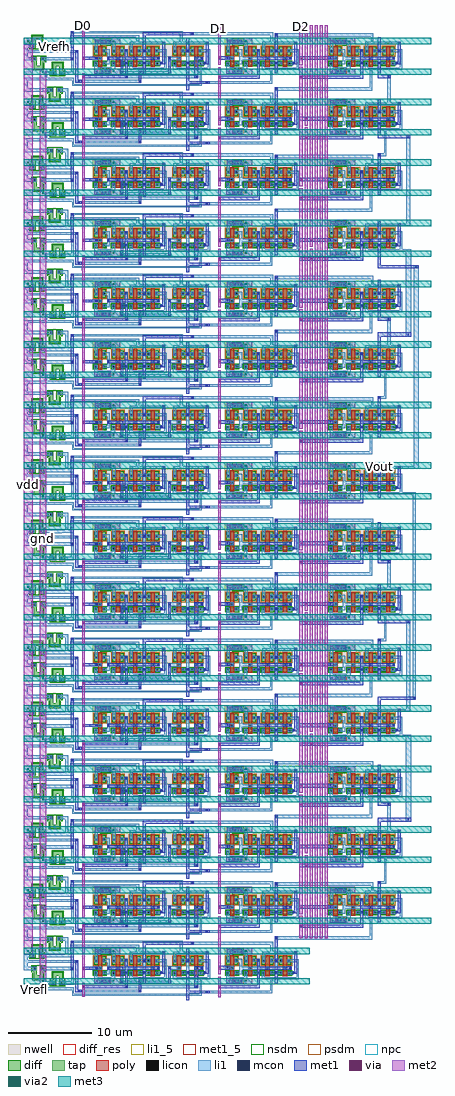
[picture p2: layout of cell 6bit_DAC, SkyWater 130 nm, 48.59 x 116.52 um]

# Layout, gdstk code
from math import pi, radians
import gdstk
lib = gdstk.Library(unit=1e-6, precision=1e-09)
def R(c, l, rs):  # rectangles x0, y0, x1, y1
    for r in rs: c.add(gdstk.rectangle(r[:2], r[2:], *l))
def A(c, l, x, y, w, h, nx, ny, dx, dy):  # array of equal rectangles
    R(c, l, [(x+i*dx, y+j*dy, x+i*dx+w, y+j*dy+h) for i in range(nx) for j in range(ny)])
nwell = (64, 20)
diff_res = (65, 13)
diff = (65, 20)
tap = (65, 44)
poly = (66, 20)
licon = (66, 44)
li1_5 = (67, 5)
li1 = (67, 20)
mcon = (67, 44)
met1_5 = (68, 5)
met1 = (68, 20)
via = (68, 44)
met2 = (69, 20)
via2 = (69, 44)
met3 = (70, 20)
nsdm = (93, 44)
psdm = (94, 20)
npc = (95, 20)

switchn = lib.new_cell('switchn')
R(switchn, nwell, [(-0.19,0,7.92,1.5), (-0.19,1.5,3.08,2.24)])
R(switchn, diff, [(-0.04,-1.01,1.39,-0.59), (2.09,-1.01,3.52,-0.59), (4.17,-1.01,5.6,-0.59), (6.3,-1.01,7.73,-0.59), (0.01,0.18,1.37,1.18), (2.14,0.18,3.5,1.18), (4.22,0.18,5.58,1.18), (6.32,0.18,7.68,0.87), (6.32,0.87,7.69,1.18)])
R(switchn, tap, [(0.81,-2.01,1.92,-1.42), (0.82,1.46,1.92,2.05)])
A(switchn, poly, 2.58, -1.17, 0.5, 2.48, 3, 1, 2.08, 0)
R(switchn, poly, [(0.45,-1.17,0.95,1.31)])
R(switchn, licon, [(1.275,-1.795,1.445,-1.625), (0.085,-0.875,0.255,-0.705), (2.215,-0.875,2.385,-0.705), (4.295,-0.875,4.465,-0.705), (7.435,-0.875,7.605,-0.705), (1.115,-0.835,1.285,-0.665), (3.245,-0.835,3.415,-0.665), (5.325,-0.835,5.495,-0.665), (6.405,-0.835,6.575,-0.665), (2.725,-0.315,2.895,-0.145), (6.965,-0.295,7.135,-0.125), (0.595,-0.285,0.765,-0.115), (4.815,-0.265,4.985,-0.095), (0.145,0.615,0.315,0.785), (1.105,0.615,1.275,0.785), (2.275,0.615,2.445,0.785), (3.235,0.615,3.405,0.785), (4.355,0.615,4.525,0.785), (5.315,0.615,5.485,0.785), (6.415,0.615,6.585,0.785), (7.375,0.615,7.545,0.785), (1.3,1.655,1.47,1.825)])
R(switchn, li1_5, [(6.77,-1.465,7.16,-1.435), (6.705,1.615,7.095,1.645)])
R(switchn, li1, [(0.81,-2.01,1.92,-1.5), (4.2,-1.55,8.64,-1.29), (8.37,-1.55,8.64,0.51), (-0.01,-1.5,0.36,-0.97), (-0.01,-1.5,2.49,-1.28), (4.2,-1.29,4.57,-0.97), (2.12,-1.28,2.49,-0.97), (7.33,-1.01,7.97,-0.88), (-0.02,-0.97,0.36,-0.6), (2.11,-0.97,2.49,-0.6), (4.19,-0.97,4.57,-0.6), (1.02,-0.93,1.87,-0.59), (3.15,-0.93,3.99,-0.59), (5.23,-0.93,6.67,-0.59), (5.77,-0.93,6.13,0.9), (7.33,-0.88,8.2,-0.63), (-0.01,-0.6,0.36,-0.59), (2.12,-0.6,2.49,-0.59), (1.56,-0.59,1.87,-0.38), (-0.145,-0.385,0.89,0.055), (1.56,-0.38,5.15,-0.02), (6.8,-0.38,7.8,-0.01), (1.56,-0.02,1.87,0.51), (0.04,0.5,0.41,1.59), (2.17,0.5,2.54,1.59), (4.25,0.5,4.62,1.76), (1,0.51,1.87,0.9), (5.21,0.51,6.69,0.9), (7.27,0.51,8.65,0.87), (3.13,0.53,4,0.9), (0.82,1.46,1.92,1.59), (4.25,1.51,8.46,1.76), (0.04,1.59,2.54,1.83), (0.82,1.83,1.92,2.05)])
R(switchn, mcon, [(0.9,-1.825,1.07,-1.655), (1.67,-1.825,1.84,-1.655), (3.74,-0.845,3.91,-0.675), (5.85,-0.845,6.02,-0.675), (7.985,-0.815,8.155,-0.645), (7.515,-0.255,7.685,-0.085), (0.025,-0.23,0.195,-0.06), (5.875,0.63,6.045,0.8), (3.76,0.645,3.93,0.815), (8.195,1.575,8.365,1.745), (0.92,1.66,1.09,1.83), (1.65,1.675,1.82,1.845)])
R(switchn, met1_5, [(1.19,-1.98,1.53,-1.92), (1.22,1.95,1.5,2)])
R(switchn, met1, [(-3.6,-2.635,3.985,-2.25), (3.67,-2.635,3.985,-0.36), (-0.01,-2.01,1.92,-1.42), (5.77,-2,6.13,-0.59), (3.67,-0.93,3.99,-0.38), (7.9,-0.9,8.46,-0.58), (8.12,-0.58,8.46,1.48), (-3.6,-0.385,0.42,0.055), (3.67,-0.38,7.79,-0.02), (3.67,-0.02,4,0.9), (7.37,-0.02,7.77,-0.01), (5.77,0.515,6.13,2.085), (0.04,1.46,1.92,2.05), (8.12,1.48,8.46,1.81)])
R(switchn, via, [(0.25,-1.83,0.4,-1.68), (0.37,1.7,0.52,1.85)])
A(switchn, met2, -2.4, -0.96, 0.4, 4.73, 4, 1, 0.6, 0)
R(switchn, met2, [(-3.6,-3.9,-3.2,-1.21), (-3,-3.9,-2.6,-1.19), (-2.4,-3.9,-2,-1.19), (-1.8,-3.9,-1.4,-1.185), (-1.2,-3.9,-0.8,-1.175), (-0.6,-3.9,-0.2,-1.165), (-0.01,-2.135,3.08,-1.42), (-3.6,-0.99,-3.2,3.77), (-3,-0.975,-2.6,3.77), (0.04,1.46,3.08,2.24)])
R(switchn, via2, [(2.205,-1.805,2.405,-1.605), (2.205,1.735,2.405,1.935)])
R(switchn, met3, [(-4,-2.135,12.1,-1.42), (-4,1.465,12.1,2.235)])
R(switchn, nsdm, [(-0.165,-1.135,1.515,-0.465), (1.965,-1.135,3.645,-0.465), (4.045,-1.135,5.725,-0.465), (6.175,-1.135,7.855,-0.465), (0.695,1.335,2.045,2.175)])
R(switchn, psdm, [(0.685,-2.135,2.045,-1.295), (-0.115,0.055,1.495,1.305), (2.015,0.055,3.625,1.305), (4.095,0.055,5.705,1.305), (6.195,0.055,7.805,0.745), (6.195,0.745,7.815,1.305)])
R(switchn, npc, [(2.625,-0.415,2.995,-0.045), (6.865,-0.395,7.235,-0.025), (0.495,-0.385,0.865,-0.015), (4.715,-0.365,5.085,0.005)])
switchn.add(gdstk.Label('vrefh', (6.9,1.63), layer=67, texttype=5))
switchn.add(gdstk.Label('vrefl', (6.965,-1.45), layer=67, texttype=5))
switchn.add(gdstk.Label('DX_BUF', (1.31,-2.585), layer=68, texttype=5))
switchn.add(gdstk.Label('Vout', (5.855,-1.877), layer=68, texttype=5))
switchn.add(gdstk.Label('Vout', (5.884,1.944), layer=68, texttype=5))
switchn.add(gdstk.Label('vdd', (1.36,1.975), layer=68, texttype=5))
switchn.add(gdstk.Label('gnd', (1.36,-1.95), layer=68, texttype=5))
switchn.add(gdstk.Label('D2', (-3.498,3.7), layer=69, texttype=5))
switchn.add(gdstk.Label('D3', (-2.814,3.72), layer=69, texttype=5))
switchn.add(gdstk.Label('D4', (-2.276,3.725), layer=69, texttype=5))
switchn.add(gdstk.Label('D5', (-1.617,3.745), layer=69, texttype=5))
switchn.add(gdstk.Label('D6', (-1.085,3.73), layer=69, texttype=5))
switchn.add(gdstk.Label('D7', (-0.441,3.735), layer=69, texttype=5))
switchn.add(gdstk.Label('VDD', (11.375,1.76), layer=70, texttype=5))
switchn.add(gdstk.Label('GND', (11.51,-1.905), layer=70, texttype=5))

resistor = lib.new_cell('resistor')
R(resistor, diff_res, [(-0.64,-1.03,-0.07,-0.455), (-0.64,-0.855,0.87,-0.455), (0.45,-0.855,0.87,0.32), (-0.64,-0.08,-0.07,0.53), (-0.64,-0.08,0.87,0.32)])
R(resistor, diff, [(-0.64,-1.03,-0.07,-0.455), (-0.64,-0.855,0.87,-0.455), (0.45,-0.855,0.87,0.32), (-0.64,-0.08,-0.07,0.53), (-0.64,-0.08,0.87,0.32)])
R(resistor, licon, [(-0.475,-0.825,-0.305,-0.655), (-0.455,0.165,-0.285,0.335)])
R(resistor, li1, [(-0.59,-2,-0.19,-0.56), (-0.59,0.06,-0.19,1.3)])
R(resistor, nsdm, [(-0.765,-1.155,0.055,-0.995), (-0.765,-0.995,0.995,0.435), (-0.765,0.435,0.055,0.655)])
resistor.add(gdstk.Label('b', (-0.37,0.27), layer=67, texttype=5))
resistor.add(gdstk.Label('a', (-0.39,-0.75), layer=67, texttype=5))

resistor_h = lib.new_cell('resistor_h')
R(resistor_h, li1, [(-7.66,-2.09,-7.32,0.32), (-12.585,-0.08,-12.16,1.59), (-12.585,-0.08,-9.205,0.32)])
resistor_h.add(gdstk.Reference(resistor, (-8.64,-0.27), rotation=3*pi/2))

switch2n = lib.new_cell('switch2n')
R(switch2n, nwell, [(-0.19,0,13.12,1.5), (-0.19,1.5,3.08,2.24)])
R(switch2n, diff, [(-0.04,-1.01,1.39,-0.59), (2.09,-1.01,3.52,-0.59), (4.17,-1.01,5.6,-0.59), (4.17,-1.01,5.6,-0.59), (6.3,-1.01,7.73,-0.59), (6.3,-1.01,7.73,-0.59), (9.37,-1.01,10.8,-0.59), (9.37,-1.01,10.8,-0.59), (11.5,-1.01,12.93,-0.59), (11.5,-1.01,12.93,-0.59), (0.01,0.18,1.37,1.18), (2.14,0.18,3.5,1.18), (4.22,0.18,5.58,1.18), (4.22,0.18,5.58,1.18), (6.32,0.18,7.68,0.87), (6.32,0.18,7.68,0.87), (9.42,0.18,10.78,1.18), (9.42,0.18,10.78,1.18), (11.52,0.18,12.88,0.87), (11.52,0.18,12.88,0.87), (6.32,0.87,7.69,1.18), (6.32,0.87,7.69,1.18), (11.52,0.87,12.89,1.18), (11.52,0.87,12.89,1.18)])
R(switch2n, tap, [(0.81,-2.01,1.92,-1.42), (0.82,1.46,1.92,2.05)])
R(switch2n, poly, [(0.45,-1.17,0.95,1.31), (2.58,-1.17,3.08,1.31), (4.66,-1.17,5.16,1.31), (4.66,-1.17,5.16,1.31), (6.74,-1.17,7.24,1.31), (6.74,-1.17,7.24,1.31), (9.86,-1.17,10.36,1.31), (9.86,-1.17,10.36,1.31), (11.94,-1.17,12.44,1.31), (11.94,-1.17,12.44,1.31)])
R(switch2n, licon, [(1.275,-1.795,1.445,-1.625), (0.085,-0.875,0.255,-0.705), (2.215,-0.875,2.385,-0.705), (4.295,-0.875,4.465,-0.705), (4.295,-0.875,4.465,-0.705), (7.435,-0.875,7.605,-0.705), (7.435,-0.875,7.605,-0.705), (9.495,-0.875,9.665,-0.705), (9.495,-0.875,9.665,-0.705), (12.635,-0.875,12.805,-0.705), (12.635,-0.875,12.805,-0.705), (1.115,-0.835,1.285,-0.665), (3.245,-0.835,3.415,-0.665), (5.325,-0.835,5.495,-0.665), (5.325,-0.835,5.495,-0.665), (6.405,-0.835,6.575,-0.665), (6.405,-0.835,6.575,-0.665), (10.525,-0.835,10.695,-0.665), (10.525,-0.835,10.695,-0.665), (11.605,-0.835,11.775,-0.665), (11.605,-0.835,11.775,-0.665), (2.725,-0.315,2.895,-0.145), (6.965,-0.295,7.135,-0.125), (6.965,-0.295,7.135,-0.125), (12.165,-0.295,12.335,-0.125), (12.165,-0.295,12.335,-0.125), (0.595,-0.285,0.765,-0.115), (4.815,-0.265,4.985,-0.095), (4.815,-0.265,4.985,-0.095), (10.015,-0.265,10.185,-0.095), (10.015,-0.265,10.185,-0.095), (0.145,0.615,0.315,0.785), (1.105,0.615,1.275,0.785), (2.275,0.615,2.445,0.785), (3.235,0.615,3.405,0.785), (4.355,0.615,4.525,0.785), (4.355,0.615,4.525,0.785), (5.315,0.615,5.485,0.785), (5.315,0.615,5.485,0.785), (6.415,0.615,6.585,0.785), (6.415,0.615,6.585,0.785), (7.375,0.615,7.545,0.785), (7.375,0.615,7.545,0.785), (9.555,0.615,9.725,0.785), (9.555,0.615,9.725,0.785), (10.515,0.615,10.685,0.785), (10.515,0.615,10.685,0.785), (11.615,0.615,11.785,0.785), (11.615,0.615,11.785,0.785), (12.575,0.615,12.745,0.785), (12.575,0.615,12.745,0.785), (1.3,1.66,1.47,1.83)])
R(switch2n, li1, [(3.68,-2.585,12.435,-2.235), (3.155,-2.035,9.16,-1.72), (8.86,-2.035,9.16,0.01), (0.81,-2.01,1.92,-1.5), (4.2,-1.55,8.64,-1.29), (4.2,-1.55,8.64,-1.29), (8.37,-1.55,8.64,0.51), (8.37,-1.55,8.64,0.51), (9.4,-1.55,13.84,-1.29), (9.4,-1.55,13.84,-1.29), (13.57,-1.55,13.84,0.51), (13.57,-1.55,13.84,0.51), (-0.01,-1.5,0.36,-0.97), (-0.01,-1.5,2.49,-1.28), (4.2,-1.29,4.57,-0.97), (4.2,-1.29,4.57,-0.97), (9.4,-1.29,9.77,-0.97), (9.4,-1.29,9.77,-0.97), (2.12,-1.28,2.49,-0.97), (7.33,-1.01,7.97,-0.88), (7.33,-1.01,7.97,-0.88), (12.53,-1.01,13.17,-0.88), (12.53,-1.01,13.17,-0.88), (-0.02,-0.97,0.36,-0.6), (2.11,-0.97,2.49,-0.6), (4.19,-0.97,4.57,-0.6), (4.19,-0.97,4.57,-0.6), (9.39,-0.97,9.77,-0.6), (9.39,-0.97,9.77,-0.6), (1.02,-0.93,1.87,-0.59), (3.15,-0.93,3.99,-0.59), (5.23,-0.93,6.67,-0.59), (5.23,-0.93,6.67,-0.59), (5.77,-0.93,6.13,0.9), (5.77,-0.93,6.13,0.9), (10.43,-0.93,11.87,-0.59), (10.43,-0.93,11.87,-0.59), (10.97,-0.93,11.33,0.9), (10.97,-0.93,11.33,0.9), (7.33,-0.88,8.2,-0.63), (7.33,-0.88,8.2,-0.63), (12.53,-0.88,13.4,-0.63), (12.53,-0.88,13.4,-0.63), (-0.01,-0.6,0.36,-0.59), (2.12,-0.6,2.49,-0.59), (1.56,-0.59,1.87,-0.38), (8.86,-0.425,10.34,0.015), (-0.6,-0.38,0.89,-0.03), (1.56,-0.38,5.15,-0.02), (6.8,-0.38,7.8,-0.01), (6.8,-0.38,7.8,-0.01), (12,-0.38,13,-0.01), (12,-0.38,13,-0.01), (1.56,-0.02,1.87,0.51), (0.04,0.5,0.41,1.59), (2.17,0.5,2.54,1.59), (4.25,0.5,4.62,1.76), (4.25,0.5,4.62,1.76), (9.45,0.5,9.82,1.76), (9.45,0.5,9.82,1.76), (1,0.51,1.87,0.9), (5.21,0.51,6.69,0.9), (5.21,0.51,6.69,0.9), (7.27,0.51,8.65,0.87), (7.27,0.51,8.65,0.87), (10.41,0.51,11.89,0.9), (10.41,0.51,11.89,0.9), (12.47,0.51,13.85,0.87), (12.47,0.51,13.85,0.87), (3.13,0.53,4,0.9), (0.82,1.46,1.92,1.59), (4.25,1.51,8.41,1.76), (4.25,1.51,8.41,1.76), (9.45,1.51,13.61,1.76), (9.45,1.51,13.61,1.76), (0.04,1.59,2.54,1.83), (0.82,1.83,1.92,2.05)])
R(switch2n, mcon, [(12.14,-2.49,12.31,-2.32), (3.75,-2.485,3.92,-2.315), (3.22,-1.97,3.39,-1.8), (0.9,-1.825,1.07,-1.655), (1.67,-1.825,1.84,-1.655), (5.86,-0.85,6.03,-0.68), (5.86,-0.85,6.03,-0.68), (11.06,-0.85,11.23,-0.68), (11.06,-0.85,11.23,-0.68), (3.74,-0.845,3.91,-0.675), (7.985,-0.815,8.155,-0.645), (7.985,-0.815,8.155,-0.645), (13.185,-0.815,13.355,-0.645), (13.185,-0.815,13.355,-0.645), (1.65,-0.285,1.82,-0.115), (0.12,-0.27,0.29,-0.1), (7.515,-0.255,7.685,-0.085), (7.515,-0.255,7.685,-0.085), (12.715,-0.255,12.885,-0.085), (12.715,-0.255,12.885,-0.085), (5.865,0.63,6.035,0.8), (5.865,0.63,6.035,0.8), (11.065,0.63,11.235,0.8), (11.065,0.63,11.235,0.8), (3.76,0.645,3.93,0.815), (8.195,1.575,8.365,1.745), (8.195,1.575,8.365,1.745), (13.395,1.575,13.565,1.745), (13.395,1.575,13.565,1.745), (0.92,1.66,1.09,1.83), (1.65,1.66,1.82,1.83)])
R(switch2n, met1, [(-1.46,-2.585,3.99,-2.235), (3.68,-2.585,3.99,-0.555), (11.94,-2.575,12.435,-0.01), (5.77,-2.16,6.13,-0.59), (10.97,-2.16,11.33,-0.59), (3.15,-2.045,3.445,-0.02), (-0.01,-2.01,1.92,-1.42), (5.77,-2,6.13,-0.59), (10.97,-2,11.33,-0.59), (3.67,-0.93,3.99,-0.38), (7.9,-0.9,8.46,-0.58), (7.9,-0.9,8.46,-0.58), (13.1,-0.9,13.66,-0.58), (13.1,-0.9,13.66,-0.58), (8.12,-0.58,8.46,1.48), (8.12,-0.58,8.46,1.48), (13.32,-0.58,13.66,1.48), (13.32,-0.58,13.66,1.48), (11.94,-0.395,13.005,0.015), (-1.46,-0.38,0.42,-0.03), (1.56,-0.38,3.445,-0.02), (3.67,-0.38,7.79,-0.02), (3.67,-0.02,4,0.9), (7.37,-0.02,7.77,-0.01), (7.37,-0.02,7.77,-0.01), (5.77,0.51,6.13,2.24), (5.77,0.51,6.13,2.24), (10.97,0.51,11.33,2.24), (10.97,0.51,11.33,2.24), (0.04,1.46,1.92,2.05), (8.12,1.48,8.46,1.81), (8.12,1.48,8.46,1.81), (13.32,1.48,13.66,1.81), (13.32,1.48,13.66,1.81)])
R(switch2n, via, [(-1.37,-2.485,-1.22,-2.335), (0.25,-1.83,0.4,-1.68), (-1.36,-0.29,-1.21,-0.14), (0.37,1.7,0.52,1.85)])
R(switch2n, met2, [(-1.46,-3.6,-1.13,-1.985), (-0.01,-2.135,3.08,-1.42), (-1.46,-1.5,-1.13,3.9), (0.04,1.46,3.08,2.24)])
R(switch2n, via2, [(2.2,-1.8,2.4,-1.6), (2.2,1.73,2.4,1.93)])
R(switch2n, met3, [(-2.575,-2.135,14,-1.42), (-2.575,1.465,14,2.235)])
R(switch2n, nsdm, [(-0.165,-1.135,1.515,-0.465), (1.965,-1.135,3.645,-0.465), (4.045,-1.135,5.725,-0.465), (4.045,-1.135,5.725,-0.465), (6.175,-1.135,7.855,-0.465), (6.175,-1.135,7.855,-0.465), (9.245,-1.135,10.925,-0.465), (9.245,-1.135,10.925,-0.465), (11.375,-1.135,13.055,-0.465), (11.375,-1.135,13.055,-0.465), (0.695,1.335,2.045,2.175)])
R(switch2n, psdm, [(0.685,-2.135,2.045,-1.295), (-0.115,0.055,1.495,1.305), (2.015,0.055,3.625,1.305), (4.095,0.055,5.705,1.305), (4.095,0.055,5.705,1.305), (6.195,0.055,7.805,0.745), (6.195,0.055,7.805,0.745), (9.295,0.055,10.905,1.305), (9.295,0.055,10.905,1.305), (11.395,0.055,13.005,0.745), (11.395,0.055,13.005,0.745), (6.195,0.745,7.815,1.305), (6.195,0.745,7.815,1.305), (11.395,0.745,13.015,1.305), (11.395,0.745,13.015,1.305)])
R(switch2n, npc, [(2.625,-0.415,2.995,-0.045), (6.865,-0.395,7.235,-0.025), (6.865,-0.395,7.235,-0.025), (12.065,-0.395,12.435,-0.025), (12.065,-0.395,12.435,-0.025), (0.495,-0.385,0.865,-0.015), (4.715,-0.365,5.085,0.005), (4.715,-0.365,5.085,0.005), (9.915,-0.365,10.285,0.005), (9.915,-0.365,10.285,0.005)])
switch2n.add(gdstk.Label('vrefh0', (6.61,1.64), layer=67, texttype=5))
switch2n.add(gdstk.Label('vrefl0', (6.785,-1.46), layer=67, texttype=5))
switch2n.add(gdstk.Label('vrefh1', (11.64,1.645), layer=67, texttype=5))
switch2n.add(gdstk.Label('D0_INV', (1.98,-0.275), layer=67, texttype=5))
switch2n.add(gdstk.Label('vrefl1', (11.61,-1.465), layer=67, texttype=5))
switch2n.add(gdstk.Label('D0_BUF', (3.975,-0.3), layer=68, texttype=5))
switch2n.add(gdstk.Label('Vout0', (5.827,2.025), layer=68, texttype=5))
switch2n.add(gdstk.Label('Vout1', (11.14,-1.971), layer=68, texttype=5))
switch2n.add(gdstk.Label('Vout1', (11.052,2), layer=68, texttype=5))
switch2n.add(gdstk.Label('Vout0', (5.94,-1.971), layer=68, texttype=5))
switch2n.add(gdstk.Label('vdd', (1.36,1.975), layer=68, texttype=5))
switch2n.add(gdstk.Label('gnd', (1.36,-1.95), layer=68, texttype=5))
switch2n.add(gdstk.Label('D0', (-1.398,3.184), layer=69, texttype=5))
switch2n.add(gdstk.Label('VDD', (-2.23,1.77), layer=70, texttype=5))
switch2n.add(gdstk.Label('GND', (-2.265,-1.865), layer=70, texttype=5))
switch2n.add(gdstk.Label('VDD', (13.39,1.945), layer=70, texttype=5))
switch2n.add(gdstk.Label('GND', (13.275,-1.945), layer=70, texttype=5))

switch2 = lib.new_cell('switch2')
R(switch2, nwell, [(-2.69,0,5.42,1.5), (-2.69,1.5,0.58,2.24)])
R(switch2, diff, [(-2.54,-1.01,-1.11,-0.59), (-0.41,-1.01,1.02,-0.59), (1.67,-1.01,3.1,-0.59), (3.8,-1.01,5.23,-0.59), (-2.49,0.18,-1.13,1.18), (-0.36,0.18,1,1.18), (1.72,0.18,3.08,1.18), (3.82,0.18,5.18,0.87), (3.82,0.87,5.19,1.18)])
R(switch2, tap, [(-1.69,-2.01,-0.58,-1.42), (-1.68,1.46,-0.58,2.05)])
A(switch2, poly, 0.08, -1.17, 0.5, 2.48, 3, 1, 2.08, 0)
R(switch2, poly, [(-2.05,-1.17,-1.55,1.31)])
R(switch2, licon, [(-1.225,-1.795,-1.055,-1.625), (-2.415,-0.875,-2.245,-0.705), (-0.285,-0.875,-0.115,-0.705), (1.795,-0.875,1.965,-0.705), (4.935,-0.875,5.105,-0.705), (-1.385,-0.835,-1.215,-0.665), (0.745,-0.835,0.915,-0.665), (2.825,-0.835,2.995,-0.665), (3.905,-0.835,4.075,-0.665), (0.225,-0.315,0.395,-0.145), (4.465,-0.295,4.635,-0.125), (-1.905,-0.285,-1.735,-0.115), (2.315,-0.265,2.485,-0.095), (-2.355,0.615,-2.185,0.785), (-1.395,0.615,-1.225,0.785), (-0.225,0.615,-0.055,0.785), (0.735,0.615,0.905,0.785), (1.855,0.615,2.025,0.785), (2.815,0.615,2.985,0.785), (3.915,0.615,4.085,0.785), (4.875,0.615,5.045,0.785), (-1.2,1.66,-1.03,1.83)])
R(switch2, li1, [(-1.69,-2.01,-0.58,-1.5), (1.7,-1.55,6.14,-1.29), (5.87,-1.55,6.14,0.51), (-2.51,-1.5,-0.01,-1.28), (-2.51,-1.5,-2.14,-0.97), (1.7,-1.29,2.07,-0.97), (-0.38,-1.28,-0.01,-0.97), (4.83,-1.01,5.47,-0.88), (-2.52,-0.97,-2.14,-0.6), (-0.39,-0.97,-0.01,-0.6), (1.69,-0.97,2.07,-0.6), (-1.48,-0.93,-0.63,-0.59), (0.65,-0.93,1.49,-0.59), (2.73,-0.93,4.17,-0.59), (3.27,-0.93,3.63,0.9), (4.83,-0.88,5.7,-0.63), (-2.51,-0.6,-2.14,-0.59), (-0.38,-0.6,-0.01,-0.59), (-0.94,-0.59,-0.63,-0.38), (-2.645,-0.385,-1.61,0.055), (-0.94,-0.38,2.65,-0.02), (4.3,-0.38,5.3,-0.01), (-0.94,-0.02,-0.63,0.51), (-2.46,0.5,-2.09,1.59), (-0.33,0.5,0.04,1.59), (1.75,0.5,2.12,1.76), (-1.5,0.51,-0.63,0.9), (2.71,0.51,4.19,0.9), (4.77,0.51,6.15,0.87), (0.63,0.53,1.5,0.9), (-1.68,1.46,-0.58,1.59), (1.75,1.51,5.91,1.76), (-2.46,1.59,0.04,1.83), (-1.68,1.83,-0.58,2.05)])
R(switch2, mcon, [(-1.6,-1.825,-1.43,-1.655), (-0.83,-1.825,-0.66,-1.655), (1.24,-0.845,1.41,-0.675), (3.35,-0.845,3.52,-0.675), (5.485,-0.815,5.655,-0.645), (5.015,-0.255,5.185,-0.085), (-2.475,-0.23,-2.305,-0.06), (3.37,0.63,3.54,0.8), (1.26,0.645,1.43,0.815), (5.695,1.575,5.865,1.745), (-1.58,1.66,-1.41,1.83), (-0.85,1.66,-0.68,1.83)])
R(switch2, met1, [(-3.5,-2.635,1.495,-2.25), (1.17,-2.635,1.485,-0.36), (-2.51,-2.01,-0.58,-1.42), (3.27,-2,3.63,-0.59), (1.17,-0.93,1.49,-0.38), (5.4,-0.9,5.96,-0.58), (5.62,-0.58,5.96,1.48), (-3.5,-0.385,-2.08,0.055), (1.17,-0.38,5.29,-0.02), (1.17,-0.02,1.5,0.9), (4.87,-0.02,5.27,-0.01), (3.27,0.51,3.63,2.08), (-2.46,1.46,-0.58,2.05), (5.62,1.48,5.96,1.81)])
R(switch2, via, [(-3.42,-2.52,-3.27,-2.37), (-2.25,-1.83,-2.1,-1.68), (-3.42,-0.24,-3.27,-0.09), (-2.13,1.7,-1.98,1.85)])
R(switch2, met2, [(-3.5,-3.7,-3.2,-1.235), (-2.51,-2.135,0.58,-1.42), (-3.5,-0.96,-3.2,3.6), (-2.46,1.46,0.58,2.24)])
R(switch2, via2, [(-0.3,-1.8,-0.1,-1.6), (-0.3,1.74,-0.1,1.94)])
R(switch2, met3, [(-4.5,-2.135,7.425,-1.42), (-4.5,1.465,7.425,2.235)])
R(switch2, nsdm, [(-2.665,-1.135,-0.985,-0.465), (-0.535,-1.135,1.145,-0.465), (1.545,-1.135,3.225,-0.465), (3.675,-1.135,5.355,-0.465), (-1.805,1.335,-0.455,2.175)])
R(switch2, psdm, [(-1.815,-2.135,-0.455,-1.295), (-2.615,0.055,-1.005,1.305), (-0.485,0.055,1.125,1.305), (1.595,0.055,3.205,1.305), (3.695,0.055,5.305,0.745), (3.695,0.745,5.315,1.305)])
R(switch2, npc, [(0.125,-0.415,0.495,-0.045), (4.365,-0.395,4.735,-0.025), (-2.005,-0.385,-1.635,-0.015), (2.215,-0.365,2.585,0.005)])
switch2.add(gdstk.Label('vrefl', (4.01,-1.445), layer=67, texttype=5))
switch2.add(gdstk.Label('vrefh', (3.98,1.655), layer=67, texttype=5))
switch2.add(gdstk.Label('Vout', (3.44,0.145), layer=67, texttype=5))
switch2.add(gdstk.Label('D1_INV', (-0.74,-0.335), layer=67, texttype=5))
switch2.add(gdstk.Label('Vout', (3.399,1.954), layer=68, texttype=5))
switch2.add(gdstk.Label('Vout', (3.41,-1.902), layer=68, texttype=5))
switch2.add(gdstk.Label('D1_BUF', (1.4,-0.325), layer=68, texttype=5))
switch2.add(gdstk.Label('gnd', (-1.14,-1.95), layer=68, texttype=5))
switch2.add(gdstk.Label('vdd', (-1.14,1.975), layer=68, texttype=5))
switch2.add(gdstk.Label('D1', (-3.456,2.24), layer=69, texttype=5))
switch2.add(gdstk.Label('GND', (6.97,-1.87), layer=70, texttype=5))
switch2.add(gdstk.Label('VDD', (6.98,1.755), layer=70, texttype=5))

resistor_3xh = lib.new_cell('resistor_3xh')
R(resistor_3xh, li1, [(-0.93,-5.46,5,-5.13), (1.525,-5.46,1.875,-4.405), (4.405,-4.805,5,-4.405), (4.735,-4.805,5,-2.68), (-0.93,-3.075,-0.505,-1.17), (2.005,-3.075,5,-2.675), (-0.93,-2.17,5.57,-1.88), (1.97,-1.57,5,-1.17), (4.59,-1.57,5,-0.275)])
resistor_3xh.add(gdstk.Reference(resistor, (1.07,-3.265), rotation=3*pi/2))
resistor_3xh.add(gdstk.Reference(resistor, (0.37,-0.98), rotation=pi/2))
resistor_3xh.add(gdstk.Reference(resistor, (2.825,-4.215), rotation=pi/2))
resistor_3xh.add(gdstk.Label('RH1', (4.42,-1.5), layer=67, texttype=5))
resistor_3xh.add(gdstk.Label('RL1', (4.01,-2.14), layer=67, texttype=5))
resistor_3xh.add(gdstk.Label('RH0', (4.02,-2.965), layer=67, texttype=5))
resistor_3xh.add(gdstk.Label('RL0', (4.055,-5.405), layer=67, texttype=5))

c_2bit_dac = lib.new_cell('2bit_DAC')
R(c_2bit_dac, li1, [(-12.35,-1.305,-12.16,-0.325), (-12.35,-1.305,3.105,-1.12), (2.91,-1.305,3.105,0.89), (3.54,-1.055,11.525,-0.73), (11.3,-1.045,11.525,0.885), (-11.66,-0.915,-4.08,-0.595), (-0.925,0.12,-0.515,0.475), (-6.565,0.145,-6.25,0.455), (-6.57,0.18,-0.565,0.44), (0.48,3.685,0.86,5.235), (11.305,3.685,11.655,5.105), (-4.68,3.69,-4.325,4.545), (-12.57,4.485,-4.33,4.73), (1.815,4.735,11.655,5.105), (-12.485,4.93,-12.09,5.23), (-12.485,5,0.86,5.235)])
R(c_2bit_dac, mcon, [(3.695,-0.97,3.865,-0.8), (-4.315,-0.84,-4.145,-0.67), (-11.595,-0.82,-11.425,-0.65), (-4.31,0.65,-4.14,0.82), (-12.415,1.84,-12.245,2.01), (-0.82,1.865,-0.65,2.035), (-11.845,2.69,-11.675,2.86), (1.915,4.83,2.085,5), (-12.41,5.015,-12.24,5.185)])
R(c_2bit_dac, met1, [(1.265,-1.84,1.625,0.415), (1.265,-1.055,4.065,-0.73), (-11.955,-0.915,-11.59,2.925), (-11.955,-0.915,-11.215,-0.595), (-4.38,-0.915,-4.08,0.885), (11.845,0.175,12.205,0.4), (-0.895,0.18,-0.56,2.19), (-12.485,1.73,-12.16,5.235), (-3.935,4.205,-3.575,5.105), (-3.935,4.735,2.195,5.105)])
R(c_2bit_dac, met2, [(5.075,-1.525,5.375,-1.245), (-11.165,-1.425,-10.835,-1.115), (5.075,5.215,5.375,5.775), (-11.165,5.655,-10.835,6.075)])
R(c_2bit_dac, met3, [(-18.09,0.04,-11.5,0.755), (-18.09,3.64,-11.81,4.41)])
c_2bit_dac.add(gdstk.Reference(switch2n, (-9.705,2.175)))
c_2bit_dac.add(gdstk.Reference(switch2, (8.575,2.175)))
c_2bit_dac.add(gdstk.Reference(resistor_3xh, (-17.16,4.805)))
c_2bit_dac.add(gdstk.Label('Vrefl', (-11.695,-1.245), layer=67, texttype=5))
c_2bit_dac.add(gdstk.Label('Vrefh', (-11.855,4.53), layer=67, texttype=5))
c_2bit_dac.add(gdstk.Label('Vout', (11.945,0.3), layer=68, texttype=5))
c_2bit_dac.add(gdstk.Label('D0_BUF', (-11.125,-1.37), layer=69, texttype=5))
c_2bit_dac.add(gdstk.Label('D0', (-11.095,5.76), layer=69, texttype=5))
c_2bit_dac.add(gdstk.Label('D1', (5.135,5.36), layer=69, texttype=5))
c_2bit_dac.add(gdstk.Label('D1_BUF', (5.17,-1.44), layer=69, texttype=5))
c_2bit_dac.add(gdstk.Label('gnd', (-17.54,0.27), layer=70, texttype=5))
c_2bit_dac.add(gdstk.Label('vdd', (-17.28,3.985), layer=70, texttype=5))

c_3bit_dac = lib.new_cell('3bit_DAC')
R(c_3bit_dac, li1, [(-12.66,-6.43,-11.805,-6.1), (17.265,-0.405,28.91,-0.005), (28.61,-0.405,28.91,2.35), (28.79,5.15,29.035,6.42), (-5.255,5.945,-4.965,6.195), (17.275,6.025,29.035,6.42)])
R(c_3bit_dac, mcon, [(17.37,-0.3,17.54,-0.13), (17.365,6.13,17.535,6.3)])
R(c_3bit_dac, met1, [(17.275,-1.57,17.635,-0.005), (29.6,5.48,29.96,5.985), (17.275,5.59,17.635,6.425)])
R(c_3bit_dac, via, [(20.335,1.14,20.485,1.29), (20.355,3.395,20.505,3.545)])
A(c_3bit_dac, met2, 20.83, 1.895, 0.4, 1.04, 5, 1, 0.6, 0)
R(c_3bit_dac, met2, [(10.505,-7.3,10.805,-7.02), (-5.73,-7.205,-5.41,-6.895), (-10.805,-5.735,-10,2.22), (-12.66,-2.135,-11.62,5.875), (20.23,-0.26,20.63,0.18), (20.23,6.685,20.63,7.415), (20.83,6.69,21.23,7.41), (10.505,6.79,10.805,7.24), (-5.735,7.115,-5.41,7.545)])
R(c_3bit_dac, via2, [(-10.5,-5.485,-10.3,-5.285), (-12.265,-1.86,-12.065,-1.66), (-10.51,1.73,-10.31,1.93), (-12.285,5.385,-12.085,5.585)])
R(c_3bit_dac, met3, [(-12.66,-5.735,-10,-5.02), (-12.66,-2.135,-10,-1.365), (-12.66,1.505,-10,2.22), (-12.66,5.105,-10,5.875)])
c_3bit_dac.add(gdstk.Reference(resistor_h, (-0.075,-0.45)))
c_3bit_dac.add(gdstk.Reference(c_2bit_dac, (5.43,-5.775)))
c_3bit_dac.add(gdstk.Reference(c_2bit_dac, (5.43,1.465)))
c_3bit_dac.add(gdstk.Reference(switchn, (23.83,3.64)))
c_3bit_dac.add(gdstk.Label('Vrefh', (-5.15,6.05), layer=67, texttype=5))
c_3bit_dac.add(gdstk.Label('Vrefl', (-12.385,-6.315), layer=67, texttype=5))
c_3bit_dac.add(gdstk.Label('Vout', (29.7,5.825), layer=68, texttype=5))
c_3bit_dac.add(gdstk.Label('vdd', (-12.215,3.125), layer=69, texttype=5))
c_3bit_dac.add(gdstk.Label('gnd', (-10.355,-3.31), layer=69, texttype=5))
c_3bit_dac.add(gdstk.Label('D3', (20.99,6.995), layer=69, texttype=5))
c_3bit_dac.add(gdstk.Label('D0_BUF', (-5.605,-7.075), layer=69, texttype=5))
c_3bit_dac.add(gdstk.Label('D1_BUF', (10.615,-7.175), layer=69, texttype=5))
c_3bit_dac.add(gdstk.Label('D2_BUF', (20.36,-0.18), layer=69, texttype=5))
c_3bit_dac.add(gdstk.Label('D0', (-5.63,7.315), layer=69, texttype=5))
c_3bit_dac.add(gdstk.Label('D1', (10.645,7), layer=69, texttype=5))
c_3bit_dac.add(gdstk.Label('D2', (20.42,6.99), layer=69, texttype=5))

c_4bit_dac = lib.new_cell('4bit_DAC')
R(c_4bit_dac, li1, [(-23.75,-10.54,-23.005,-10.205), (17.6,2.13,18.59,2.46), (18.32,2.13,18.59,5.48), (18.68,8.28,19.11,11.84), (-21.365,15.07,-20.165,15.47)])
R(c_4bit_dac, mcon, [(17.7,2.205,17.87,2.375), (18.8,11.58,18.97,11.75)])
R(c_4bit_dac, met1, [(17.6,1.005,17.96,2.46), (17.6,8.275,17.96,8.865), (17.6,11.46,17.96,12.555), (17.6,11.46,19.11,11.84)])
R(c_4bit_dac, via, [(8.94,4.23,9.09,4.38), (8.945,6.55,9.095,6.7)])
R(c_4bit_dac, met2, [(-22.805,-2.615,-22,5.39), (-24.66,1.02,-23.62,8.985), (11.225,4.93,11.625,6.23), (10.03,4.95,10.43,6.145), (10.63,4.965,11.03,6.205), (9.425,5,9.835,6.11), (8.23,5.185,8.63,6.11), (-1.495,17.16,-1.195,17.61), (8.23,17.47,8.63,17.785), (-17.74,17.49,-17.41,17.915), (8.83,17.525,9.23,17.78)])
c_4bit_dac.add(gdstk.Reference(resistor_h, (-12.075,2.68)))
c_4bit_dac.add(gdstk.Reference(c_3bit_dac, (-12,-4.11)))
c_4bit_dac.add(gdstk.Reference(switchn, (11.83,6.77)))
c_4bit_dac.add(gdstk.Reference(c_3bit_dac, (-12,10.37)))
c_4bit_dac.add(gdstk.Label('Vrefh', (-21.08,15.21), layer=67, texttype=5))
c_4bit_dac.add(gdstk.Label('Vrefl', (-23.575,-10.405), layer=67, texttype=5))
c_4bit_dac.add(gdstk.Label('Vout', (17.665,8.425), layer=68, texttype=5))
c_4bit_dac.add(gdstk.Label('gnd', (-22.465,-0.41), layer=69, texttype=5))
c_4bit_dac.add(gdstk.Label('vdd', (-24.285,5.84), layer=69, texttype=5))
c_4bit_dac.add(gdstk.Label('D0', (-17.605,17.665), layer=69, texttype=5))
c_4bit_dac.add(gdstk.Label('D1', (-1.375,17.335), layer=69, texttype=5))
c_4bit_dac.add(gdstk.Label('D2', (8.415,17.6), layer=69, texttype=5))
c_4bit_dac.add(gdstk.Label('D3', (9.02,17.665), layer=69, texttype=5))

c_5bit_dac = lib.new_cell('5bit_DAC')
R(c_5bit_dac, li1, [(-38.425,-22.525,-37.675,-22.185), (6.245,-2.435,6.92,7.98), (5.53,7.72,6.92,7.98), (5.22,10.78,6.81,11.03), (6.28,10.78,6.81,21.675), (-36.03,32.045,-34.835,32.45)])
R(c_5bit_dac, mcon, [(6.455,-2.245,6.625,-2.075), (6.46,21.395,6.63,21.565)])
R(c_5bit_dac, met1, [(2.93,-3.33,3.29,-1.94), (2.93,-2.435,6.92,-1.935), (2.93,10.775,3.29,11.36), (2.93,21.27,3.29,22.29), (2.93,21.27,6.805,21.675)])
R(c_5bit_dac, via, [(-5.125,6.785,-4.975,6.935), (-5.125,9.01,-4.975,9.16)])
R(c_5bit_dac, met2, [(-37.475,-0.095,-36.67,7.865), (-39.33,3.5,-38.29,11.56), (-5.83,7.52,-5.455,8.565), (-6.43,7.555,-6.04,8.58), (-4.64,7.58,-4.23,8.615), (-3.445,7.625,-3.045,8.635), (-4.03,7.64,-3.645,8.65), (-5.24,34,-4.845,34.5), (-16.165,34.14,-15.865,34.59), (-6.44,34.45,-6.04,34.765), (-32.405,34.47,-32.08,34.895), (-5.84,34.505,-5.44,34.76)])
c_5bit_dac.add(gdstk.Reference(c_4bit_dac, (-14.67,16.98)))
c_5bit_dac.add(gdstk.Reference(resistor_h, (-26.745,5.18)))
c_5bit_dac.add(gdstk.Reference(c_4bit_dac, (-14.67,-11.98)))
c_5bit_dac.add(gdstk.Reference(switchn, (-2.84,9.27)))
c_5bit_dac.add(gdstk.Label('Vrefh', (-35.335,32.19), layer=67, texttype=5))
c_5bit_dac.add(gdstk.Label('Vrefl', (-38.195,-22.425), layer=67, texttype=5))
c_5bit_dac.add(gdstk.Label('Vout', (3.005,10.955), layer=68, texttype=5))
c_5bit_dac.add(gdstk.Label('vdd', (-38.85,8.515), layer=69, texttype=5))
c_5bit_dac.add(gdstk.Label('gnd', (-37.175,2.3), layer=69, texttype=5))
c_5bit_dac.add(gdstk.Label('D0', (-32.29,34.55), layer=69, texttype=5))
c_5bit_dac.add(gdstk.Label('D1', (-16.05,34.405), layer=69, texttype=5))
c_5bit_dac.add(gdstk.Label('D2', (-6.265,34.625), layer=69, texttype=5))
c_5bit_dac.add(gdstk.Label('D3', (-5.635,34.62), layer=69, texttype=5))
c_5bit_dac.add(gdstk.Label('D4', (-5.125,34.21), layer=69, texttype=5))

c_6bit_dac = lib.new_cell('6bit_DAC')
R(c_6bit_dac, li1, [(-38.925,-46.625,-38.175,-46.275), (6.585,-11.975,6.945,12.845), (5.03,12.585,6.945,12.845), (4.725,15.645,7.27,15.895), (6.685,15.645,7.27,39.9), (-36.525,65.87,-35.325,66.275)])
R(c_6bit_dac, mcon, [(6.675,-11.855,6.845,-11.685), (6.86,39.66,7.03,39.83)])
R(c_6bit_dac, met1, [(2.43,-12.975,2.79,-11.6), (2.43,-11.975,6.945,-11.6), (2.435,15.7,2.79,16.22), (2.43,39.55,2.79,41.695), (2.43,39.55,7.27,39.9)])
R(c_6bit_dac, via, [(-5.025,11.62,-4.875,11.77), (-5.03,13.855,-4.88,14.005)])
R(c_6bit_dac, met2, [(-37.975,4.765,-37.17,12.71), (-39.83,8.34,-38.79,16.405), (-4.54,12.565,-4.14,13.495), (-5.74,12.655,-5.34,13.435), (-3.94,12.655,-3.54,13.53), (-6.34,12.685,-5.94,13.435), (-6.94,12.735,-6.54,13.41), (-16.665,67.965,-16.365,68.415), (-6.935,68.275,-6.54,68.585), (-32.905,68.295,-32.58,68.715), (-5.14,68.295,-4.74,68.585), (-5.74,68.325,-5.34,68.585), (-6.34,68.33,-5.94,68.585)])
c_6bit_dac.add(gdstk.Reference(switchn, (-3.34,14.135)))
c_6bit_dac.add(gdstk.Reference(c_5bit_dac, (-0.5,33.825)))
c_6bit_dac.add(gdstk.Reference(resistor_h, (-27.245,10.045)))
c_6bit_dac.add(gdstk.Reference(c_5bit_dac, (-0.5,-24.095)))
c_6bit_dac.add(gdstk.Label('Vrefh', (-36.13,66.035), layer=67, texttype=5))
c_6bit_dac.add(gdstk.Label('Vrefl', (-38.545,-46.525), layer=67, texttype=5))
c_6bit_dac.add(gdstk.Label('Vout', (2.57,15.865), layer=68, texttype=5))
c_6bit_dac.add(gdstk.Label('gnd', (-37.595,7.29), layer=69, texttype=5))
c_6bit_dac.add(gdstk.Label('vdd', (-39.305,13.785), layer=69, texttype=5))
c_6bit_dac.add(gdstk.Label('D0', (-32.77,68.54), layer=69, texttype=5))
c_6bit_dac.add(gdstk.Label('D1', (-16.545,68.18), layer=69, texttype=5))
c_6bit_dac.add(gdstk.Label('D2', (-6.68,68.445), layer=69, texttype=5))
c_6bit_dac.add(gdstk.Label('D3', (-6.225,68.46), layer=69, texttype=5))
c_6bit_dac.add(gdstk.Label('D4', (-5.58,68.44), layer=69, texttype=5))
c_6bit_dac.add(gdstk.Label('D5', (-4.975,68.42), layer=69, texttype=5))

lib.write_gds('6bit_DAC.gds')
